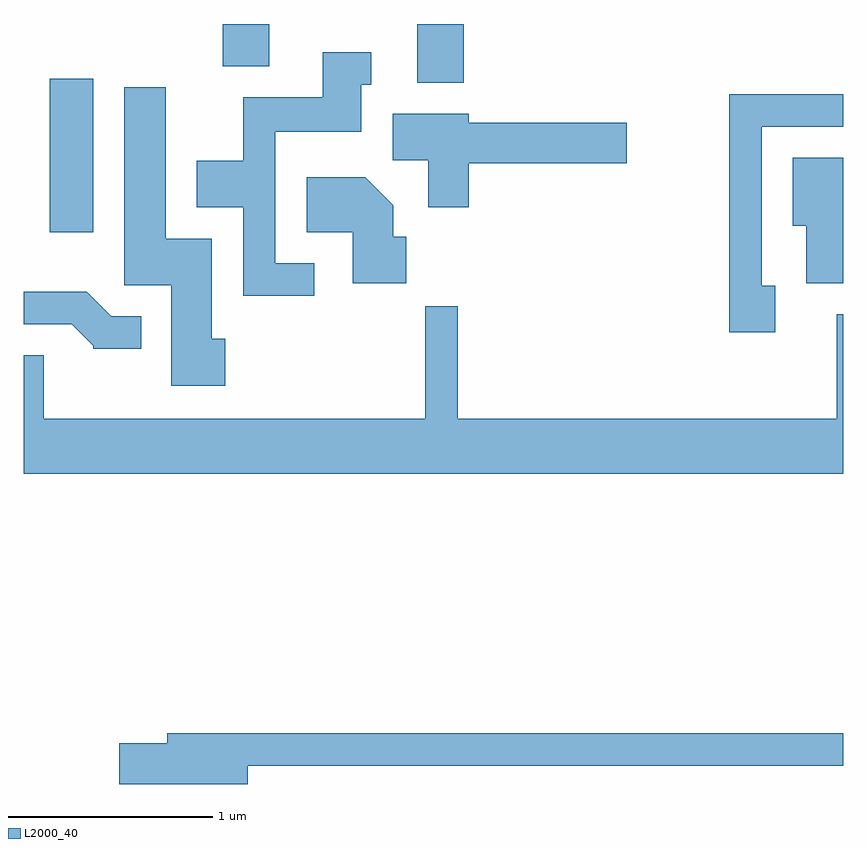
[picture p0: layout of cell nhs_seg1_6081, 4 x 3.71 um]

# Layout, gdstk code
import gdstk
lib = gdstk.Library(unit=1e-6, precision=1e-09)
def R(c, l, rs):  # rectangles x0, y0, x1, y1
    for r in rs: c.add(gdstk.rectangle(r[:2], r[2:], *l))
def P(c, l, *ps):  # polygons
    for p in ps: c.add(gdstk.Polygon(p, *l))
L2000_40 = (2000, 40)

nhs_seg1_6081 = lib.new_cell('nhs_seg1_6081')
R(nhs_seg1_6081, L2000_40, [(367.736,960.696,367.949,961.444), (369.531,961.426,369.759,961.712), (368.581,961.506,368.809,961.712)])
P(nhs_seg1_6081, L2000_40, [(369.028,960.544),(368.839,960.544),(368.839,961.186),(369.259,961.186),(369.259,961.416),(369.308,961.416),(369.308,961.574),(369.071,961.574),(369.071,961.354),(368.681,961.354),(368.681,961.044),(368.456,961.044),(368.456,960.816),(368.681,960.816),(368.681,960.386),(369.028,960.386)],
  [(368.594,960.174),(368.529,960.174),(368.529,960.664),(368.304,960.664),(368.304,961.404),(368.101,961.404),(368.101,960.436),(368.331,960.436),(368.331,959.946),(368.594,959.946)],
  [(371.279,960.434),(371.214,960.434),(371.214,961.211),(371.611,961.211),(371.611,961.369),(371.056,961.369),(371.056,960.206),(371.279,960.206)],
  [(369.784,961.031),(370.554,961.031),(370.554,961.229),(369.784,961.229),(369.784,961.274),(369.411,961.274),(369.411,961.046),(369.586,961.046),(369.586,960.816),(369.784,960.816)],
  [(371.611,961.059),(371.366,961.059),(371.366,960.726),(371.431,960.726),(371.431,960.446),(371.611,960.446)],
  [(369.479,960.674),(369.414,960.674),(369.414,960.827),(369.277,960.964),(368.991,960.964),(368.991,960.696),(369.216,960.696),(369.216,960.446),(369.479,960.446)],
  [(368.183,960.284),(368.037,960.284),(367.917,960.404),(367.611,960.404),(367.611,960.246),(367.844,960.246),(367.95,960.14),(367.95,960.126),(368.183,960.126)],
  [(371.611,960.294),(371.581,960.294),(371.581,959.784),(369.729,959.784),(369.729,960.333),(369.571,960.333),(369.571,959.784),(367.709,959.784),(367.709,960.094),(367.611,960.094),(367.611,959.516),(371.611,959.516)],
  [(368.704,958.091),(371.611,958.091),(371.611,958.249),(368.311,958.249),(368.311,958.199),(368.076,958.199),(368.076,958.001),(368.704,958.001)])

lib.write_gds('nhs_seg1_6081.gds')
